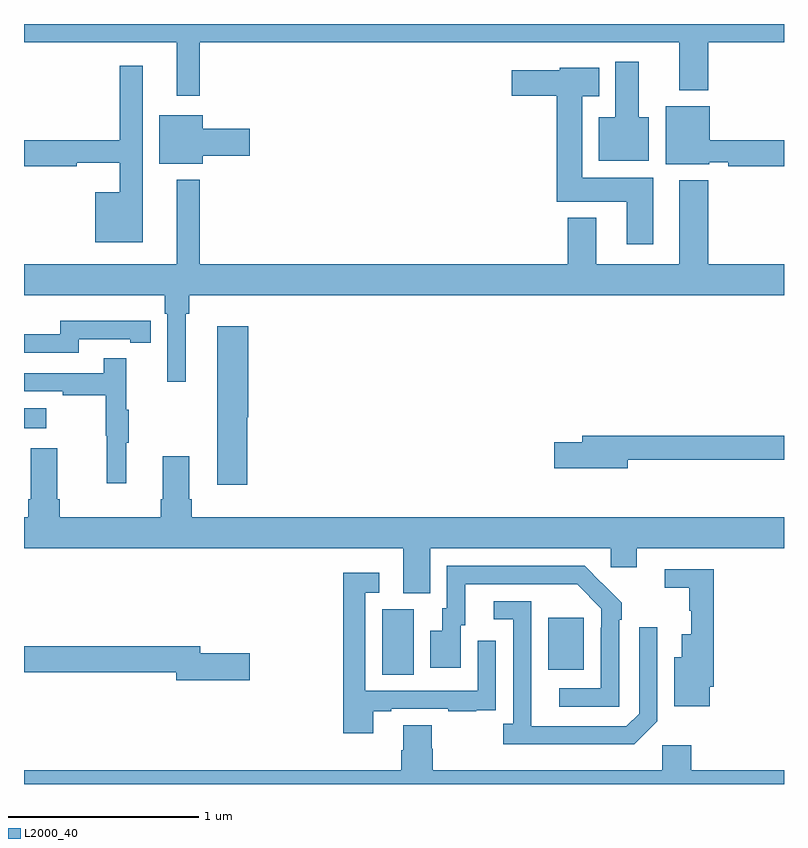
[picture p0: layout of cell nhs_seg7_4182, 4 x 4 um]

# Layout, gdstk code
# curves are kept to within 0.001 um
import gdstk
lib = gdstk.Library(unit=1e-6, precision=1e-09)
def R(c, l, rs):  # rectangles x0, y0, x1, y1
    for r in rs: c.add(gdstk.rectangle(r[:2], r[2:], *l))
def P(c, l, *ps):  # polygons
    for p in ps: c.add(gdstk.Polygon(p, *l))
L2000_40 = (2000, 40)

nhs_seg7_4182 = lib.new_cell('nhs_seg7_4182')
R(nhs_seg7_4182, L2000_40, [(376.886,1042.576,377.05,1042.92), (377.759,1042.601,377.947,1042.876), (375,1043.873,375.118,1043.977)])
P(nhs_seg7_4182, L2000_40, [(375.925,1045.904),(378.449,1045.904),(378.449,1045.652),(378.602,1045.652),(378.602,1045.904),(379,1045.904),(379,1046),(375,1046),(375,1045.904),(375.803,1045.904),(375.803,1045.623),(375.925,1045.623)],
  [(378.289,1045.51),(378.235,1045.51),(378.235,1045.801),(378.113,1045.801),(378.113,1045.51),(378.026,1045.51),(378.026,1045.28),(378.289,1045.28)],
  [(375.625,1045.78),(375.504,1045.78),(375.504,1045.388),(375,1045.388),(375,1045.252),(375.278,1045.252),(375.278,1045.271),(375.504,1045.271),(375.504,1045.114),(375.374,1045.114),(375.374,1044.851),(375.625,1044.851)],
  [(378.313,1045.192),(377.938,1045.192),(377.938,1045.619),(378.028,1045.619),(378.028,1045.771),(377.82,1045.771),(377.82,1045.756),(377.568,1045.756),(377.568,1045.622),(377.804,1045.622),(377.804,1045.064),(378.173,1045.064),(378.173,1044.84),(378.313,1044.84)],
  [(379,1045.388),(378.61,1045.388),(378.61,1045.567),(378.377,1045.567),(378.377,1045.262),(378.606,1045.262),(378.606,1045.272),(378.706,1045.272),(378.706,1045.252),(379,1045.252)],
  [(375.94,1045.307),(376.189,1045.307),(376.189,1045.449),(375.94,1045.449),(375.94,1045.519),(375.713,1045.519),(375.713,1045.265),(375.94,1045.265)],
  [(379,1044.736),(378.602,1044.736),(378.602,1045.177),(378.449,1045.177),(378.449,1044.736),(378.013,1044.736),(378.013,1044.979),(377.861,1044.979),(377.861,1044.736),(375.925,1044.736),(375.925,1045.18),(375.803,1045.18),(375.803,1044.736),(375,1044.736),(375,1044.572),(375.74,1044.572),(375.74,1044.476),(375.753,1044.476),(375.753,1044.117),(375.85,1044.117),(375.85,1044.476),(375.869,1044.476),(375.869,1044.572),(379,1044.572)],
  [(375.288,1044.342),(375.56,1044.342),(375.56,1044.322),(375.668,1044.322),(375.668,1044.438),(375.56,1044.438),(375.56,1044.439),(375.192,1044.439),(375.192,1044.366),(375,1044.366),(375,1044.27),(375.288,1044.27)],
  [(376.175,1043.931),(376.18,1043.931),(376.18,1044.409),(376.016,1044.409),(376.016,1043.574),(376.175,1043.574)],
  [(375.539,1043.795),(375.55,1043.795),(375.55,1043.969),(375.539,1043.969),(375.539,1044.241),(375.421,1044.241),(375.421,1044.162),(375,1044.162),(375,1044.066),(375.205,1044.066),(375.205,1044.046),(375.429,1044.046),(375.429,1043.832),(375.436,1043.832),(375.436,1043.583),(375.539,1043.583)],
  [(378.178,1043.706),(379,1043.706),(379,1043.834),(377.939,1043.834),(377.939,1043.798),(377.79,1043.798),(377.79,1043.663),(378.178,1043.663)],
  [(377.137,1043.24),(378.087,1043.24),(378.087,1043.142),(378.226,1043.142),(378.226,1043.24),(379,1043.24),(379,1043.404),(375.884,1043.404),(375.884,1043.5),(375.871,1043.5),(375.871,1043.725),(375.731,1043.725),(375.731,1043.5),(375.719,1043.5),(375.719,1043.404),(375.188,1043.404),(375.188,1043.5),(375.175,1043.5),(375.175,1043.767),(375.035,1043.767),(375.035,1043.5),(375.023,1043.5),(375.023,1043.404),(375,1043.404),(375,1043.24),(376.997,1043.24),(376.997,1043.005),(377.137,1043.005)],
  [(378.132,1042.865),(378.147,1042.865),(378.147,1042.953),(377.95,1043.148),(377.226,1043.148),(377.226,1042.926),(377.201,1042.926),(377.201,1042.807),(377.138,1042.807),(377.138,1042.611),(377.299,1042.611),(377.299,1042.836),(377.323,1042.836),(377.323,1043.052),(377.911,1043.052),(378.039,1042.923),(378.039,1042.823),(378.036,1042.823),(378.036,1042.503),(377.817,1042.503),(377.817,1042.407),(378.132,1042.407)],
  [(378.61,1042.513),(378.629,1042.513),(378.629,1043.13),(378.372,1043.13),(378.372,1043.032),(378.501,1043.032),(378.501,1042.911),(378.512,1042.911),(378.512,1042.789),(378.461,1042.789),(378.461,1042.666),(378.422,1042.666),(378.422,1042.409),(378.61,1042.409)],
  [(376.837,1042.382),(376.933,1042.382),(376.933,1042.395),(377.233,1042.395),(377.233,1042.382),(377.381,1042.382),(377.381,1042.389),(377.483,1042.389),(377.483,1042.498),(377.484,1042.498),(377.484,1042.753),(377.388,1042.753),(377.388,1042.491),(376.797,1042.491),(376.797,1043.007),(376.87,1043.007),(376.87,1043.113),(376.681,1043.113),(376.681,1042.266),(376.837,1042.266)],
  [(378.333,1042.329),(378.333,1042.825),(378.237,1042.825),(378.237,1042.371),(378.171,1042.305),(377.671,1042.305),(377.67,1042.962),(377.472,1042.962),(377.472,1042.866),(377.574,1042.866),(377.574,1042.318),(377.523,1042.318),(377.523,1042.208),(378.212,1042.208)],
  [(376.189,1042.688),(375.928,1042.688),(375.928,1042.724),(375,1042.724),(375,1042.588),(375.8,1042.588),(375.8,1042.546),(376.189,1042.546)],
  [(379,1042.072),(378.512,1042.072),(378.512,1042.204),(378.36,1042.204),(378.36,1042.072),(377.15,1042.072),(377.15,1042.185),(377.145,1042.185),(377.145,1042.31),(376.997,1042.31),(376.997,1042.178),(376.985,1042.178),(376.985,1042.072),(375,1042.072),(375,1042),(379,1042)])

lib.write_gds('nhs_seg7_4182.gds')
